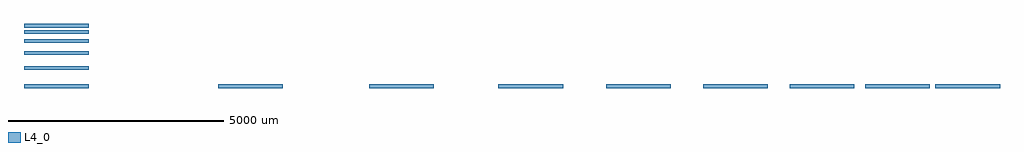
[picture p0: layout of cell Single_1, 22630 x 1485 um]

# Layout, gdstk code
import gdstk
lib = gdstk.Library(unit=1e-6, precision=5e-09)
def R(c, l, rs):  # rectangles x0, y0, x1, y1
    for r in rs: c.add(gdstk.rectangle(r[:2], r[2:], *l))
L4_0 = (4, 0)

single_1 = lib.new_cell('Single_1')
R(single_1, L4_0, [(-750,-42.5,750,42.5), (3750,-42.5,5250,42.5), (7250,-42.5,8750,42.5), (10250,-42.5,11750,42.5), (12750,-42.5,14250,42.5), (15000,-42.5,16500,42.5), (17000,-42.5,18500,42.5), (18750,-42.5,20250,42.5), (20380,-42.5,21880,42.5), (-750,377.5,750,462.5), (-750,727.5,750,812.5), (-750,1007.5,750,1092.5), (-750,1217.5,750,1302.5), (-750,1357.5,750,1442.5)])

lib.write_gds('Single_1.gds')
